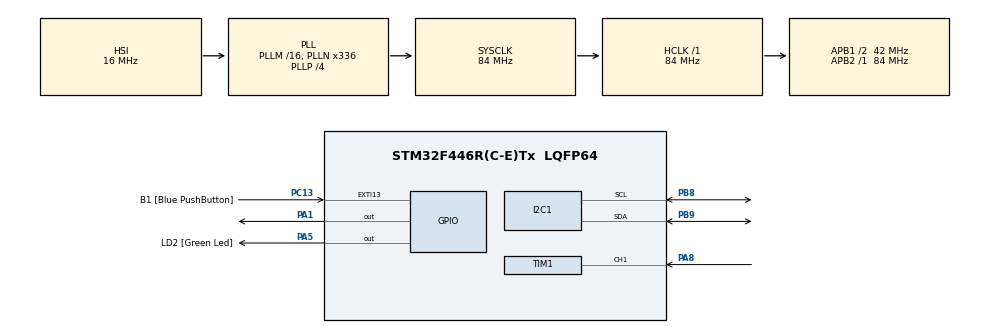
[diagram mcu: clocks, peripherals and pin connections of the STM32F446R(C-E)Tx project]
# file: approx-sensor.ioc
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Mcu.Family=STM32F4
Mcu.Name=STM32F446R(C-E)Tx
Mcu.Package=LQFP64
NVIC.PriorityGroup=NVIC_PRIORITYGROUP_0
NVIC.TIM1_CC_IRQn=true\:0\:6\:true\:false\:true\:true\:true\:true
PA1.PinState=GPIO_PIN_RESET
PA1.Signal=GPIO_Output
PA13.GPIO_Label=TMS
PA13.Signal=SYS_JTMS-SWDIO
PA14.GPIO_Label=TCK
PA14.Signal=SYS_JTCK-SWCLK
PA2.GPIO_Label=USART_TX
PA2.Signal=USART2_TX
PA3.GPIO_Label=USART_RX
PA3.Signal=USART2_RX
PA5.GPIO_Label=LD2 [Green Led]
PA5.Signal=GPIO_Output
PA8.Signal=S_TIM1_CH1
PB3.GPIO_Label=SWO
PB3.Signal=SYS_JTDO-SWO
PB8.Mode=I2C
PB8.Signal=I2C1_SCL
PB9.Mode=I2C
PB9.Signal=I2C1_SDA
PC13.GPIO_Label=B1 [Blue PushButton]
PC13.GPIO_ModeDefaultEXTI=GPIO_MODE_IT_FALLING
PC13.Signal=GPXTI13
PC14-OSC32_IN.Signal=RCC_OSC32_IN
PC15-OSC32_OUT.Signal=RCC_OSC32_OUT
PH0-OSC_IN.Signal=RCC_OSC_IN
PH1-OSC_OUT.Signal=RCC_OSC_OUT
ProjectManager.HeapSize=0x200
ProjectManager.StackSize=0x400
ProjectManager.TargetToolchain=STM32CubeIDE
RCC.AHBFreq_Value=84000000
RCC.APB1CLKDivider=RCC_HCLK_DIV2
RCC.APB1Freq_Value=42000000
RCC.APB1TimFreq_Value=84000000
RCC.APB2Freq_Value=84000000
RCC.APB2TimFreq_Value=84000000
RCC.CortexFreq_Value=84000000
RCC.FLatency-AdvancedSettings=FLASH_LATENCY_2
RCC.HCLKFreq_Value=84000000
RCC.HSE_VALUE=8000000
RCC.HSI_VALUE=16000000
RCC.LSE_VALUE=32768
RCC.PLLN=336
RCC.PLLP=RCC_PLLP_DIV4
RCC.SYSCLKFreq_VALUE=84000000
RCC.SYSCLKSource=RCC_SYSCLKSOURCE_PLLCLK
RCC.USBFreq_Value=168000000
RCC.VCOOutputFreq_Value=336000000
SH.S_TIM1_CH1.0=TIM1_CH1,Input_Capture1_from_TI1
TIM1.Channel-Input_Capture1_from_TI1=TIM_CHANNEL_1
TIM1.ICPolarity_CH1=TIM_INPUTCHANNELPOLARITY_BOTHEDGE
TIM1.Prescaler=83
TIM6.Prescaler=83
VP_TIM6_VS_ClockSourceINT.Mode=Enable_Timer
board=NUCLEO-F446RE

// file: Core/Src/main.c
/* USER CODE BEGIN Header */
/**
  ******************************************************************************
  * @file           : main.c
  * @brief          : Main program body
  ******************************************************************************
  * @attention
  *
  * Copyright (c) 2022 STMicroelectronics.
  * All rights reserved.
  *
  * This software is licensed under terms that can be found in the LICENSE file
  * in the root directory of this software component.
  * If no LICENSE file comes with this software, it is provided AS-IS.
  *
  ******************************************************************************
  */
/* USER CODE END Header */
#include "main.h"

/* USER CODE BEGIN Includes */
#include "lcd-1.h"
#include <stdio.h>
/* USER CODE END Includes */

/* USER CODE BEGIN PTD */
volatile uint32_t ticks;
/* USER CODE END PTD */

I2C_HandleTypeDef hi2c1;

TIM_HandleTypeDef htim1;
TIM_HandleTypeDef htim6;

void SystemClock_Config(void);
static void MX_GPIO_Init(void);
static void MX_I2C1_Init(void);
static void MX_TIM6_Init(void);
static void MX_TIM1_Init(void);
/* USER CODE BEGIN PFP */

volatile uint8_t is_first_captured = 0;
volatile uint32_t diff = 0 ;
volatile uint32_t distance = 0 ;
volatile uint32_t IC_val1 = 0 ;
volatile uint32_t IC_val2 = 0 ;
volatile uint32_t distance_arr[3];

//void HAL_TIM_PeriodElapsedCallback(TIM_HandleTypeDef *htim6){
//	 overflow_count++;
//	 //count = __HAL_TIM_GetCounter(&htim6);
//	 //freq = F_CLK/count;
//	 //sprintf(( unsigned int *)freq_msg, "%lu Hz\n\r", freq);
//	// HAL_UART_Transmit(&huart2, freq_msg, sizeof(freq_msg), 10000);
//}
volatile uint8_t i_ll = 0;
void HAL_TIM_IC_CaptureCallback( TIM_HandleTypeDef * htim){

	if(htim->Channel == HAL_TIM_ACTIVE_CHANNEL_1){ // read the first value on the rising edge
		if (is_first_captured ==0){
			IC_val1 = HAL_TIM_ReadCapturedValue(&htim1, TIM_CHANNEL_1);
			is_first_captured = 1;
			// now change the poalarity
			TIM_SET_CAPTUREPOLARITY(htim,TIM_CHANNEL_1,TIM_INPUTCHANNELPOLARITY_FALLING);
		}

		else if(is_first_captured==1){
			IC_val2 = HAL_TIM_ReadCapturedValue(&htim1, TIM_CHANNEL_1);
			__HAL_TIM_SET_COUNTER(htim,0);
			if(IC_val2 > IC_val1)
				diff = IC_val2-IC_val1;

			else if (IC_val1 > IC_val2)
				diff = (0xffff-IC_val1)+IC_val2;

			distance = (diff* .034)/2;

			if(i_ll>2){
				distance_arr[2]=distance;
				distance_arr[0]=distance_arr[1];
				distance_arr[1]=distance_arr[2];
				distance = (distance_arr[0]+distance_arr[1]+distance_arr[2])/3;
			}
			else{
				++i_ll;
				distance_arr[i_ll] = distance;
			}
			is_first_captured =  0;
			TIM_SET_CAPTUREPOLARITY(htim,TIM_CHANNEL_1,TIM_INPUTCHANNELPOLARITY_RISING);
			HAL_NVIC_DisableIRQ(TIM1_CC_IRQn);
			//__HAL_TIM_DISABLE_IT(htim,TIM_IT_CC1);

		}

	}
}
void HCSR04_read(){

	HAL_GPIO_WritePin(GPIOA, GPIO_PIN_1, SET);

	delay_us(10);

	HAL_GPIO_WritePin(GPIOA, GPIO_PIN_1, RESET);

	__HAL_TIM_ENABLE_IT(&htim1, TIM_IT_CC1);
	HAL_NVIC_SetPriority(TIM1_CC_IRQn, 15, 0);
	HAL_NVIC_EnableIRQ(TIM1_CC_IRQn);
}

void delay_us(uint16_t us){
	__HAL_TIM_SET_COUNTER(&htim1,0);  // set the counter value a 0
	//TIM6->CNT = 0;
	 while(__HAL_TIM_GET_COUNTER(&htim6) < us);
}

void display_temp(uint8_t dist){
	char str[16]={0};
	lcd_set_cursor(0, 0);
	sprintf(str,"DIST: %d",dist);
	lcd_send_string(str);
	lcd_send_string("  cm");
}
void display_rh(float rh){
	char str[20];
	lcd_set_cursor(1, 0);
	sprintf(str,"RH:- %.2f",rh);
	lcd_send_string(str);
	lcd_send_data('%');
}

void set_Pin_INPUT(GPIO_TypeDef *GPIOx, uint16_t gpio_pin){
	/*Configure GPIO pin : DHT11_Pin */
	  GPIO_InitTypeDef GPIO_InitStruct = {0};
	  GPIO_InitStruct.Pin = gpio_pin;
	  GPIO_InitStruct.Mode = GPIO_MODE_INPUT;
	  GPIO_InitStruct.Pull = GPIO_NOPULL;
	  GPIO_InitStruct.Speed = GPIO_SPEED_FREQ_LOW;
	  HAL_GPIO_Init(GPIOx, &GPIO_InitStruct);
}

void set_Pin_OUTPOUT(GPIO_TypeDef *GPIOx, uint16_t gpio_pin){
	/*Configure GPIO pin : DHT11_Pin */
	GPIO_InitTypeDef GPIO_InitStruct = {0};
	  GPIO_InitStruct.Pin = gpio_pin;
	  GPIO_InitStruct.Mode = GPIO_MODE_OUTPUT_PP;
	  GPIO_InitStruct.Pull = GPIO_NOPULL;
	  GPIO_InitStruct.Speed = GPIO_SPEED_FREQ_LOW;
	  HAL_GPIO_Init(GPIOx, &GPIO_InitStruct);
}

void delay_init(void){

	// set reload register to generate IRQ every milisecond
	SysTick->LOAD = (uint32_t)(SystemCoreClock/(1000UL-1UL));

	// set priority for systick
	NVIC_SetPriority(SysTick_IRQn,(1<<__NVIC_PRIO_BITS)-1);

	// set the systick counter value
	SysTick->VAL = 0UL;

	//Set systick source and IRQ;
	SysTick ->CTRL |= (SysTick_CTRL_CLKSOURCE_Msk | SysTick_CTRL_TICKINT_Msk );

}

void delay_ms(uint32_t ms){

	// enable systick timer
	SysTick -> CTRL |= SysTick_CTRL_ENABLE_Msk;

	// wait for specified number of milisec
	ticks = 0UL;
	while(ticks<ms);

	// disable the systick timer
	SysTick -> CTRL &= ~ SysTick_CTRL_ENABLE_Msk;
}

void HAL_IncTick(void){
	ticks++;
}

/* USER CODE END PFP */

int main(void)
{

  /* MCU Configuration--------------------------------------------------------*/

  /* Reset of all peripherals, Initializes the Flash interface and the Systick. */
  HAL_Init();

  /* Configure the system clock */
  SystemClock_Config();

  /* Initialize all configured peripherals */
  MX_GPIO_Init();
  MX_I2C1_Init();
  MX_TIM6_Init();
  MX_TIM1_Init();
  /* USER CODE BEGIN 2 */
  lcd_init();
  lcd_send_string("INIT>>>>>:");
  delay_ms(1000);
  //HAL_TIM_Base_Start(&htim1);
  HAL_TIM_IC_Start_IT(&htim1, TIM_CHANNEL_1);
  HAL_TIM_Base_Start(&htim6);
  /* USER CODE END 2 */

  /* Infinite loop */
  while (1)
  {

    /* USER CODE BEGIN 3 */
	  //delay_ms(70);
	  HCSR04_read();
	  delay_ms(200);
	  //HAL_Delay(250);
	  display_temp(distance);
	  //lcd_send_data((distance/10)+48);
	  //lcd_send_data((distance%10)+48);
	  //lcd_send_string(" cm");
	  //lcd_clear();

	  //HAL_Delay(200);
  }
  /* USER CODE END 3 */
}

void SystemClock_Config(void)
{
  RCC_OscInitTypeDef RCC_OscInitStruct = {0};
  RCC_ClkInitTypeDef RCC_ClkInitStruct = {0};

  /** Configure the main internal regulator output voltage
  */
  __HAL_RCC_PWR_CLK_ENABLE();
  __HAL_PWR_VOLTAGESCALING_CONFIG(PWR_REGULATOR_VOLTAGE_SCALE3);

  /** Initializes the RCC Oscillators according to the specified parameters
  * in the RCC_OscInitTypeDef structure.
  */
  RCC_OscInitStruct.OscillatorType = RCC_OSCILLATORTYPE_HSI;
  RCC_OscInitStruct.HSIState = RCC_HSI_ON;
  RCC_OscInitStruct.HSICalibrationValue = RCC_HSICALIBRATION_DEFAULT;
  RCC_OscInitStruct.PLL.PLLState = RCC_PLL_ON;
  RCC_OscInitStruct.PLL.PLLSource = RCC_PLLSOURCE_HSI;
  RCC_OscInitStruct.PLL.PLLM = 16;
  RCC_OscInitStruct.PLL.PLLN = 336;
  RCC_OscInitStruct.PLL.PLLP = RCC_PLLP_DIV4;
  RCC_OscInitStruct.PLL.PLLQ = 2;
  RCC_OscInitStruct.PLL.PLLR = 2;
  if (HAL_RCC_OscConfig(&RCC_OscInitStruct) != HAL_OK)
  {
    Error_Handler();
  }

  /** Initializes the CPU, AHB and APB buses clocks
  */
  RCC_ClkInitStruct.ClockType = RCC_CLOCKTYPE_HCLK|RCC_CLOCKTYPE_SYSCLK
                              |RCC_CLOCKTYPE_PCLK1|RCC_CLOCKTYPE_PCLK2;
  RCC_ClkInitStruct.SYSCLKSource = RCC_SYSCLKSOURCE_PLLCLK;
  RCC_ClkInitStruct.AHBCLKDivider = RCC_SYSCLK_DIV1;
  RCC_ClkInitStruct.APB1CLKDivider = RCC_HCLK_DIV2;
  RCC_ClkInitStruct.APB2CLKDivider = RCC_HCLK_DIV1;

  if (HAL_RCC_ClockConfig(&RCC_ClkInitStruct, FLASH_LATENCY_2) != HAL_OK)
  {
    Error_Handler();
  }
}

static void MX_I2C1_Init(void)
{

  hi2c1.Instance = I2C1;
  hi2c1.Init.ClockSpeed = 100000;
  hi2c1.Init.DutyCycle = I2C_DUTYCYCLE_2;
  hi2c1.Init.OwnAddress1 = 0;
  hi2c1.Init.AddressingMode = I2C_ADDRESSINGMODE_7BIT;
  hi2c1.Init.DualAddressMode = I2C_DUALADDRESS_DISABLE;
  hi2c1.Init.OwnAddress2 = 0;
  hi2c1.Init.GeneralCallMode = I2C_GENERALCALL_DISABLE;
  hi2c1.Init.NoStretchMode = I2C_NOSTRETCH_DISABLE;
  if (HAL_I2C_Init(&hi2c1) != HAL_OK)
  {
    Error_Handler();
  }

}

static void MX_TIM1_Init(void)
{

  TIM_MasterConfigTypeDef sMasterConfig = {0};
  TIM_IC_InitTypeDef sConfigIC = {0};

  htim1.Instance = TIM1;
  htim1.Init.Prescaler = 83;
  htim1.Init.CounterMode = TIM_COUNTERMODE_UP;
  htim1.Init.Period = 65535;
  htim1.Init.ClockDivision = TIM_CLOCKDIVISION_DIV1;
  htim1.Init.RepetitionCounter = 0;
  htim1.Init.AutoReloadPreload = TIM_AUTORELOAD_PRELOAD_DISABLE;
  if (HAL_TIM_IC_Init(&htim1) != HAL_OK)
  {
    Error_Handler();
  }
  sMasterConfig.MasterOutputTrigger = TIM_TRGO_RESET;
  sMasterConfig.MasterSlaveMode = TIM_MASTERSLAVEMODE_DISABLE;
  if (HAL_TIMEx_MasterConfigSynchronization(&htim1, &sMasterConfig) != HAL_OK)
  {
    Error_Handler();
  }
  sConfigIC.ICPolarity = TIM_INPUTCHANNELPOLARITY_BOTHEDGE;
  sConfigIC.ICSelection = TIM_ICSELECTION_DIRECTTI;
  sConfigIC.ICPrescaler = TIM_ICPSC_DIV1;
  sConfigIC.ICFilter = 0;
  if (HAL_TIM_IC_ConfigChannel(&htim1, &sConfigIC, TIM_CHANNEL_1) != HAL_OK)
  {
    Error_Handler();
  }

}

static void MX_TIM6_Init(void)
{

  TIM_MasterConfigTypeDef sMasterConfig = {0};

  htim6.Instance = TIM6;
  htim6.Init.Prescaler = 83;
  htim6.Init.CounterMode = TIM_COUNTERMODE_UP;
  htim6.Init.Period = 65535;
  htim6.Init.AutoReloadPreload = TIM_AUTORELOAD_PRELOAD_DISABLE;
  if (HAL_TIM_Base_Init(&htim6) != HAL_OK)
  {
    Error_Handler();
  }
  sMasterConfig.MasterOutputTrigger = TIM_TRGO_RESET;
  sMasterConfig.MasterSlaveMode = TIM_MASTERSLAVEMODE_DISABLE;
  if (HAL_TIMEx_MasterConfigSynchronization(&htim6, &sMasterConfig) != HAL_OK)
  {
    Error_Handler();
  }

}

static void MX_GPIO_Init(void)
{
  GPIO_InitTypeDef GPIO_InitStruct = {0};

  /* GPIO Ports Clock Enable */
  __HAL_RCC_GPIOC_CLK_ENABLE();
  __HAL_RCC_GPIOH_CLK_ENABLE();
  __HAL_RCC_GPIOA_CLK_ENABLE();
  __HAL_RCC_GPIOB_CLK_ENABLE();

  /*Configure GPIO pin Output Level */
  HAL_GPIO_WritePin(GPIOA, GPIO_PIN_1|LD2_Pin, GPIO_PIN_RESET);

  /*Configure GPIO pin : B1_Pin */
  GPIO_InitStruct.Pin = B1_Pin;
  GPIO_InitStruct.Mode = GPIO_MODE_IT_FALLING;
  GPIO_InitStruct.Pull = GPIO_NOPULL;
  HAL_GPIO_Init(B1_GPIO_Port, &GPIO_InitStruct);

  /*Configure GPIO pins : PA1 LD2_Pin */
  GPIO_InitStruct.Pin = GPIO_PIN_1|LD2_Pin;
  GPIO_InitStruct.Mode = GPIO_MODE_OUTPUT_PP;
  GPIO_InitStruct.Pull = GPIO_NOPULL;
  GPIO_InitStruct.Speed = GPIO_SPEED_FREQ_LOW;
  HAL_GPIO_Init(GPIOA, &GPIO_InitStruct);

  /*Configure GPIO pins : USART_TX_Pin USART_RX_Pin */
  GPIO_InitStruct.Pin = USART_TX_Pin|USART_RX_Pin;
  GPIO_InitStruct.Mode = GPIO_MODE_AF_PP;
  GPIO_InitStruct.Pull = GPIO_NOPULL;
  GPIO_InitStruct.Speed = GPIO_SPEED_FREQ_VERY_HIGH;
  GPIO_InitStruct.Alternate = GPIO_AF7_USART2;
  HAL_GPIO_Init(GPIOA, &GPIO_InitStruct);

}

void Error_Handler(void)
{
  __disable_irq();
  while (1)
  {
  }
}
